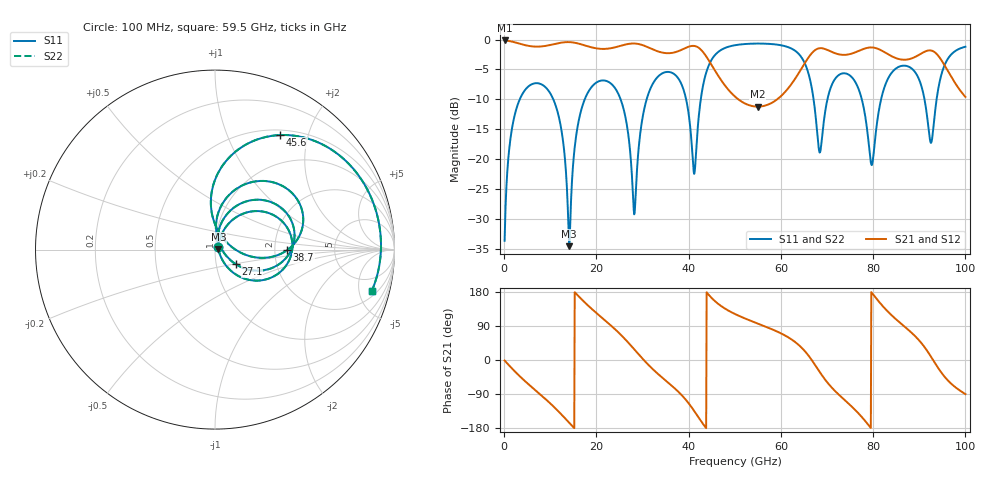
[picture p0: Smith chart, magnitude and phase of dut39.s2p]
! Touchstone file exported from HFSS 2026.1.0
!  File:  C:/ffzhzh/LocalFiles/Ansys_Project_Files/temp_train_TSV_RDL_39_1783442261_34316.aedt
!  Generated:  12:50:00 AM Jul  8, 2026
!  Design:  TSV_RDL
!  Project:  temp_train_TSV_RDL_39_1783442261_34316
! Variables:
!  h_bsmrdl = 4.86um
!  h_ox = 20um
!  h_rdl = 5um
!  h_sub = 61.82um
!  h_tmrdl = 4.38um
!  h_tsv = 61.82um
!  h_via = 3um
!  l_bsmrdl = 387.14um
!  l_sub = 3913.19um
!  l_tmrdl = 558.43um
!  m_sub = 200um
!  pitch = 41.02um
!  r_tsv = 12.58um
!  s_tmrdl = 10um
!  w_bsmrdl = 25.05um
!  w_sub = 500um
!  w_tmrdl = 14.3um
!  x_tsv_center1 = 565.58um
!  x_tsv_center2 = 977.77um
!  x_tsv_center3 = 1550.5um
!  x_tsv_center4 = 1962.69um
!  x_tsv_center5 = 2535.42um
!  x_tsv_center6 = 2947.61um
# GHz S MA R 50.000000
! Terminal data exported
! Port[1] = TM_RDL1_1_T1
! Port[2] = TM_RDL5_1_T1
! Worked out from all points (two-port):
!   1000 points, 100 MHz to 100 GHz, reference 50 ohm
!   highest |S21| = -0.15 dB at 100 MHz (marker M1); lowest = -11.2 dB at 55 GHz (marker M2)
!   |S21| within 3 dB of the highest: start of sweep to 44.1 GHz; 65.84 GHz to 85.11 GHz (19.27 GHz wide, 25.5 % of centre)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
!   lowest |S11| = -34.5 dB at 14.1 GHz (marker M3), VSWR 1.04, Z = 51.9 + j0.199 ohm
!   |S11| at or under -10 dB: 10.66 GHz to 17.47 GHz (6.803 GHz wide, 48.4 % of centre); 25.26 GHz to 30.89 GHz (5.634 GHz wide, 20.1 % of centre); 77.54 GHz to 81.72 GHz (4.173 GHz wide, 5.24 % of centre)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
!   |S22| runs from -34.4 to -0.7 dB; largest |S21 - S12| = 1e-12
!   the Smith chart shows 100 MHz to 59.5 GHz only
!   S11 on the Smith chart (normalised r, x): 100 MHz: 1.03, +0.02; 27.1 GHz: 1.24, -0.20; 38.7 GHz: 2.34, -0.02; 45.6 GHz: 0.57, +1.57; 59.5 GHz: 2.69, -6.70
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0.1  0.02083 34.3  0.983 -1.4  0.983 -1.4  0.02083 34.3
! Gamma 0 0 0 0
! Port Impedance 50 0 50 0
2.2  0.2265 55.5  0.9509 -28.6  0.9509 -28.6  0.2265 55.5
6.8  0.4319 7.2  0.8732 -80.1  0.8732 -80.1  0.4319 7.2
11.7  0.2393 -43.5  0.9322 -134.7  0.9322 -134.7  0.2393 -43.5
14.1  0.01879 5.8  0.9522 -165.5  0.9522 -165.5  0.01901 5.7
16.8  0.2653 64.7  0.9102 160.0  0.9102 160.0  0.2652 64.6
27.1  0.1402 -34.9  0.9217 43.4  0.9217 43.4  0.1401 -35.4
28.3  0.03602 41.3  0.9268 26.9  0.9268 26.9  0.03471 41.6
33.4  0.4925 49.8  0.7954 -37.3  0.7954 -37.3  0.4923 49.9
38.7  0.4009 -0.5  0.829 -95.4  0.829 -95.4  0.4008 -0.5
41.2  0.07544 40.5  0.885 -134.5  0.885 -134.5  0.07505 40.5
45.6  0.7341 60.4  0.5592 156.5  0.5592 156.5  0.7339 60.4
50.1  0.8978 28.4  0.3326 121.0  0.3326 121.0  0.8976 28.4
55  0.926 5.8  0.2752 96.2  0.2752 96.2  0.9259 5.8
59.5  0.9035 -14.7  0.3236 73.4  0.3236 73.4  0.9033 -14.7
66.7  0.3926 -72.5  0.7698 -0.4  0.7698 -0.4  0.3917 -72.9
68.5  0.1146 -21.9  0.8474 -33.2  0.8474 -33.2  0.1119 -21.6
73.9  0.5224 -16.7  0.7453 -106.5  0.7453 -106.5  0.5223 -16.6
79.7  0.08934 -2.7  0.8593 177.6  0.8593 177.6  0.08611 -2.7
83.4  0.4859 27.5  0.7476 125.1  0.7476 125.1  0.4851 28.0
92.5  0.1371 1.3  0.8111 9.5  0.8111 9.5  0.1407 1.6
100  0.8711 -4.6  0.3319 -89.9  0.3319 -89.9  0.8709 -4.6
